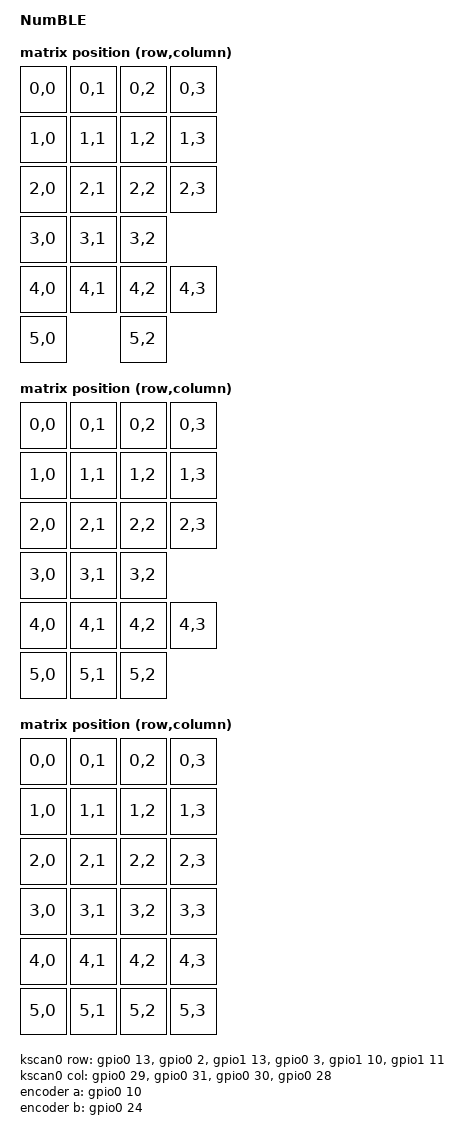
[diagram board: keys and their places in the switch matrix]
/**
 * Copyright (c) 2021 Joel Spadin
 *
 * SPDX-License-Identifier: MIT
 */

/dts-v1/;
#include <nordic/nrf52840_qiaa.dtsi>
#include <dt-bindings/zmk/matrix_transform.h>

/ {
    model = "NumBLE";
    compatible = "spadin,numble";

    chosen {
        zephyr,code-partition = &code_partition;
        zephyr,console = &cdc_acm_uart;
        zephyr,sram = &sram0;
        zephyr,flash = &flash0;
        zmk,battery = &vbatt;
        zmk,kscan = &kscan0;
        zmk,matrix_transform = &transform_numpad_21;
    };

    kscan0: kscan {
        compatible = "zmk,kscan-gpio-matrix";
        label = "KSCAN";

        diode-direction = "col2row";
        col-gpios
            = <&gpio0 29 GPIO_ACTIVE_HIGH>
            , <&gpio0 31 GPIO_ACTIVE_HIGH>
            , <&gpio0 30 GPIO_ACTIVE_HIGH>
            , <&gpio0 28 GPIO_ACTIVE_HIGH>
            ;
        row-gpios
            = <&gpio0 13 (GPIO_ACTIVE_HIGH | GPIO_PULL_DOWN)>
            , <&gpio0  2 (GPIO_ACTIVE_HIGH | GPIO_PULL_DOWN)>
            , <&gpio1 13 (GPIO_ACTIVE_HIGH | GPIO_PULL_DOWN)>
            , <&gpio0  3 (GPIO_ACTIVE_HIGH | GPIO_PULL_DOWN)>
            , <&gpio1 10 (GPIO_ACTIVE_HIGH | GPIO_PULL_DOWN)>
            , <&gpio1 11 (GPIO_ACTIVE_HIGH | GPIO_PULL_DOWN)>
            ;
    };

    // 21-key numpad
    transform_numpad_21: keymap_transform_0 {
        compatible = "zmk,matrix-transform";
        columns = <4>;
        rows = <6>;
        map = <
            RC(0,0) RC(0,1) RC(0,2) RC(0,3)
            RC(1,0) RC(1,1) RC(1,2) RC(1,3)
            RC(2,0) RC(2,1) RC(2,2) RC(2,3)
            RC(3,0) RC(3,1) RC(3,2)
            RC(4,0) RC(4,1) RC(4,2) RC(4,3)
            RC(5,0)         RC(5,2)
        >;
    };

    // 22-key numpad
    transform_numpad_22: keymap_transform_1 {
        compatible = "zmk,matrix-transform";
        columns = <4>;
        rows = <6>;
        map = <
            RC(0,0) RC(0,1) RC(0,2) RC(0,3)
            RC(1,0) RC(1,1) RC(1,2) RC(1,3)
            RC(2,0) RC(2,1) RC(2,2) RC(2,3)
            RC(3,0) RC(3,1) RC(3,2)
            RC(4,0) RC(4,1) RC(4,2) RC(4,3)
            RC(5,0) RC(5,1) RC(5,2)
        >;
    };

    // 24-key macropad
    transform_macropad: keymap_transform_2 {
        compatible = "zmk,matrix-transform";
        columns = <4>;
        rows = <6>;
        map = <
            RC(0,0) RC(0,1) RC(0,2) RC(0,3)
            RC(1,0) RC(1,1) RC(1,2) RC(1,3)
            RC(2,0) RC(2,1) RC(2,2) RC(2,3)
            RC(3,0) RC(3,1) RC(3,2) RC(3,3)
            RC(4,0) RC(4,1) RC(4,2) RC(4,3)
            RC(5,0) RC(5,1) RC(5,2) RC(5,3)
        >;
    };

    encoder: encoder {
        compatible = "alps,ec11";
        label = "ENCODER";
        a-gpios = <&gpio0 10 (GPIO_ACTIVE_HIGH | GPIO_PULL_UP)>;
        b-gpios = <&gpio0 24 (GPIO_ACTIVE_HIGH | GPIO_PULL_UP)>;
        resolution = <2>;
        status = "disabled";
    };

    leds {
        compatible = "gpio-leds";

        status_led: led_0 {
            label = "STATUS LED";
            gpios = <&gpio0 9 GPIO_ACTIVE_HIGH>;
        };
    };

    vbatt: vbatt {
        compatible = "zmk,battery-nrf-vddh";
        label = "BATTERY";
    };
};

&adc {
    status = "okay";
};

&gpiote {
    status = "okay";
};

&gpio0 {
    status = "okay";
};

&gpio1 {
    status = "okay";
};

&i2c0 {
    compatible = "nordic,nrf-twi";
    status = "okay";
    sda-pin = <(32 + 9)>;
    scl-pin = <5>;

    fuel_gauge: max17055@36 {
        compatible = "maxim,max17055";
        label = "max17055";
        reg = <0x36>;

        design-capacity = <1200>;
        design-voltage = <3700>;
        desired-voltage = <4200>;
        desired-charging-current = <400>;
        i-chg-term = <30>;
        rsense-mohms = <5>;
        v-empty = <3000>;
    };
};

&usbd {
    status = "okay";

    cdc_acm_uart: cdc_acm_uart {
        compatible = "zephyr,cdc-acm-uart";
        label = "CDC_ACM_0";
    };
};

&flash0 {
    // For more information, see
    // https://docs.zephyrproject.org/latest/reference/storage/flash_map/flash_map.html
    partitions {
        compatible = "fixed-partitions";
        #address-cells = <1>;
        #size-cells = <1>;

        sd_partition: partition@0 {
            label = "softdevice";
            reg = <0x00000000 0x00026000>;
        };
        code_partition: partition@1000 {
            label = "code_partition";
            reg = <0x00001000 0x000d3000>;
        };

        // The flash starting at 0x000d4000 and ending at
        // 0x000f3fff is reserved for use by the application.

        // Storage partition will be used by FCB/LittleFS/NVS if enabled.
        storage_partition: partition@d4000 {
            label = "storage";
            reg = <0x000d4000 0x00020000>;
        };

        boot_partition: partition@f4000 {
            label = "adafruit_boot";
            reg = <0x000f4000 0x0000c000>;
        };
    };
};
